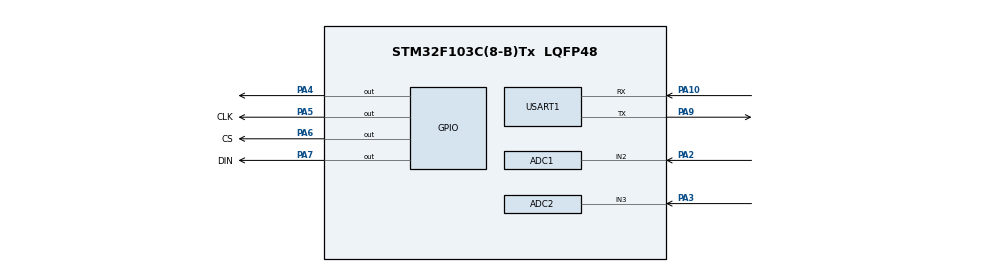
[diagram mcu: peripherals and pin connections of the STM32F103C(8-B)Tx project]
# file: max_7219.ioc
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ADC1.Channel-0\#ChannelRegularConversion=ADC_CHANNEL_2
ADC1.ContinuousConvMode=ENABLE
ADC1.NbrOfConversion=1
ADC1.NbrOfConversionFlag=1
ADC1.Rank-0\#ChannelRegularConversion=1
ADC1.SamplingTime-0\#ChannelRegularConversion=ADC_SAMPLETIME_1CYCLE_5
ADC1.master=1
ADC2.Channel-1\#ChannelRegularConversion=ADC_CHANNEL_3
ADC2.ContinuousConvMode=ENABLE
ADC2.NbrOfConversionFlag=1
ADC2.Rank-1\#ChannelRegularConversion=1
ADC2.SamplingTime-1\#ChannelRegularConversion=ADC_SAMPLETIME_1CYCLE_5
Mcu.Family=STM32F1
Mcu.Name=STM32F103C(8-B)Tx
Mcu.Package=LQFP48
NVIC.PriorityGroup=NVIC_PRIORITYGROUP_4
NVIC.TIM1_UP_IRQn=true\:1\:0\:true\:false\:true\:true\:true
NVIC.USART1_IRQn=true\:2\:0\:true\:false\:true\:true\:true
PA10.Mode=Asynchronous
PA10.Signal=USART1_RX
PA13.Mode=Serial_Wire
PA13.Signal=SYS_JTMS-SWDIO
PA14.Mode=Serial_Wire
PA14.Signal=SYS_JTCK-SWCLK
PA2.Signal=ADCx_IN2
PA3.Signal=ADCx_IN3
PA4.Signal=GPIO_Output
PA5.GPIO_Label=CLK
PA5.GPIO_Speed=GPIO_SPEED_FREQ_MEDIUM
PA5.Signal=GPIO_Output
PA6.GPIO_Label=CS
PA6.GPIO_Speed=GPIO_SPEED_FREQ_MEDIUM
PA6.Signal=GPIO_Output
PA7.GPIO_Label=DIN
PA7.GPIO_Speed=GPIO_SPEED_FREQ_MEDIUM
PA7.Signal=GPIO_Output
PA9.Mode=Asynchronous
PA9.Signal=USART1_TX
PD0-OSC_IN.Mode=HSE-External-Oscillator
PD0-OSC_IN.Signal=RCC_OSC_IN
PD1-OSC_OUT.Mode=HSE-External-Oscillator
PD1-OSC_OUT.Signal=RCC_OSC_OUT
ProjectManager.HeapSize=0x200
ProjectManager.StackSize=0x400
ProjectManager.TargetToolchain=STM32CubeIDE
RCC.APB1Freq_Value=8000000
RCC.APB2Freq_Value=8000000
RCC.RTCClockSelection=RCC_RTCCLKSOURCE_HSE_DIV128
SH.ADCx_IN2.0=ADC1_IN2,IN2
SH.ADCx_IN3.0=ADC2_IN3,IN3
TIM1.Period=10000
TIM1.Prescaler=79
USART1.VirtualMode=VM_ASYNC
VP_RTC_VS_RTC_Activate.Mode=RTC_Enabled
VP_RTC_VS_RTC_Calendar.Mode=RTC_Calendar
VP_TIM1_VS_ClockSourceINT.Mode=Internal
board=custom

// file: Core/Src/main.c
/* USER CODE BEGIN Header */
/**
  ******************************************************************************
  * @file           : main.c
  * @brief          : Main program body
  ******************************************************************************
  * @attention
  *
  * <h2><center>&copy; Copyright (c) 2019 STMicroelectronics.
  * All rights reserved.</center></h2>
  *
  * This software component is licensed by ST under BSD 3-Clause license,
  * the "License"; You may not use this file except in compliance with the
  * License. You may obtain a copy of the License at:
  *                        opensource.org/licenses/BSD-3-Clause
  *
  ******************************************************************************
  */
/* USER CODE END Header */

#include "main.h"

/* USER CODE BEGIN Includes */
#include "MAX7219.h"
/* USER CODE END Includes */

ADC_HandleTypeDef hadc1;
ADC_HandleTypeDef hadc2;

RTC_HandleTypeDef hrtc;

TIM_HandleTypeDef htim1;

UART_HandleTypeDef huart1;

/* USER CODE BEGIN PV */
extern  uchar const LEDcode[19];
#define LED_BEAT      GPIO_PIN_13   //PORTD
uint time, time1;
uint8_t mode;
uint8_t mode1;
uint32_t adc_value;
uint32_t adc_value1;
char Rx_data[1];
/* USER CODE END PV */

void SystemClock_Config(void);
static void MX_GPIO_Init(void);
static void MX_RTC_Init(void);
static void MX_TIM1_Init(void);
static void MX_ADC1_Init(void);
static void MX_USART1_UART_Init(void);
static void MX_ADC2_Init(void);

/* USER CODE BEGIN 0 */
static const double rounders[MAX_PRECISION + 1] =
{
	0.5,				// 0
	0.05,				// 1
	0.005,				// 2
	0.0005,				// 3
	0.00005,			// 4
	0.000005,			// 5
	0.0000005,			// 6
	0.00000005,			// 7
	0.000000005,		// 8
	0.0000000005,		// 9
	0.00000000005		// 10
};
char * ftoa(double f, char * buf, int precision)
{
	char * ptr = buf;
	char * p = ptr;
	char * p1;
	char c;
	long intPart;

	// check precision bounds
	if (precision > MAX_PRECISION)
		precision = MAX_PRECISION;

	// sign stuff
	if (f < 0)
	{
		f = -f;
		*ptr++ = '-';
	}

	if (precision < 0)  // negative precision == automatic precision guess
	{
		if (f < 1.0) precision = 6;
		else if (f < 10.0) precision = 5;
		else if (f < 100.0) precision = 4;
		else if (f < 1000.0) precision = 3;
		else if (f < 10000.0) precision = 2;
		else if (f < 100000.0) precision = 1;
		else precision = 0;
	}

	// round value according the precision
	if (precision)
		f += rounders[precision];

	// integer part...
	intPart = f;
	f -= intPart;

	if (!intPart)
		*ptr++ = '0';
	else
	{
		// save start pointer
		p = ptr;

		// convert (reverse order)
		while (intPart)
		{
			*p++ = '0' + intPart % 10;
			intPart /= 10;
		}

		// save end pos
		p1 = p;

		// reverse result
		while (p > ptr)
		{
			c = *--p;
			*p = *ptr;
			*ptr++ = c;
		}

		// restore end pos
		ptr = p1;
	}

	// decimal part
	if (precision)
	{
		// place decimal point
		*ptr++ = '.';

		// convert
		while (precision--)
		{
			f *= 10.0;
			c = f;
			*ptr++ = '0' + c;
			f -= c;
		}
	}

	// terminating zero
	*ptr = 0;

	return buf;
}

/* USER CODE END 0 */

int main(void)
{

  /* MCU Configuration--------------------------------------------------------*/

  /* Reset of all peripherals, Initializes the Flash interface and the Systick. */
  HAL_Init();

  /* Configure the system clock */
  SystemClock_Config();

  /* Initialize all configured peripherals */
  MX_GPIO_Init();
  MX_RTC_Init();
  MX_TIM1_Init();
  MX_ADC1_Init();
  MX_USART1_UART_Init();
  MX_ADC2_Init();
  /* USER CODE BEGIN 2 */
  MAX7219_Init ();
    MAX7219_Clear();
  // show 34b08822

  HAL_ADC_Start(&hadc1);
  HAL_ADC_Start(&hadc2);
      MAX7219_SendAddrDat(0x08,LEDcode[3]);

      MAX7219_SendAddrDat(0x07,LEDcode[4]);

      MAX7219_SendAddrDat(0x06,LEDcode[11]);

      MAX7219_SendAddrDat(0x05,LEDcode[0]);

      MAX7219_SendAddrDat(0x04,LEDcode[8]);

      MAX7219_SendAddrDat(0x03,LEDcode[8]);

      MAX7219_SendAddrDat(0x02,LEDcode[2]);

      MAX7219_SendAddrDat(0x01,LEDcode[2]);

  // show 12345678
HAL_UART_Receive_IT(&huart1, (uint8_t *) Rx_data,1);
  ///////////		HAL_Delay(3000);
//HAL_TIM_Base_Start_IT(&htim1);
  /* USER CODE END 2 */

  /* Infinite loop */
  while (1)
  {

    /* USER CODE BEGIN 3 */
	  MAX7219_DisplayTime1 (time);
	  MAX7219_DisplayTime2 (time1);
  }
  /* USER CODE END 3 */
}

void SystemClock_Config(void)
{
  RCC_OscInitTypeDef RCC_OscInitStruct = {0};
  RCC_ClkInitTypeDef RCC_ClkInitStruct = {0};
  RCC_PeriphCLKInitTypeDef PeriphClkInit = {0};

  /** Initializes the CPU, AHB and APB busses clocks
  */
  RCC_OscInitStruct.OscillatorType = RCC_OSCILLATORTYPE_HSI|RCC_OSCILLATORTYPE_HSE;
  RCC_OscInitStruct.HSEState = RCC_HSE_ON;
  RCC_OscInitStruct.HSIState = RCC_HSI_ON;
  RCC_OscInitStruct.HSICalibrationValue = RCC_HSICALIBRATION_DEFAULT;
  RCC_OscInitStruct.PLL.PLLState = RCC_PLL_NONE;
  if (HAL_RCC_OscConfig(&RCC_OscInitStruct) != HAL_OK)
  {
    Error_Handler();
  }
  /** Initializes the CPU, AHB and APB busses clocks
  */
  RCC_ClkInitStruct.ClockType = RCC_CLOCKTYPE_HCLK|RCC_CLOCKTYPE_SYSCLK
                              |RCC_CLOCKTYPE_PCLK1|RCC_CLOCKTYPE_PCLK2;
  RCC_ClkInitStruct.SYSCLKSource = RCC_SYSCLKSOURCE_HSI;
  RCC_ClkInitStruct.AHBCLKDivider = RCC_SYSCLK_DIV1;
  RCC_ClkInitStruct.APB1CLKDivider = RCC_HCLK_DIV1;
  RCC_ClkInitStruct.APB2CLKDivider = RCC_HCLK_DIV1;

  if (HAL_RCC_ClockConfig(&RCC_ClkInitStruct, FLASH_LATENCY_0) != HAL_OK)
  {
    Error_Handler();
  }
  PeriphClkInit.PeriphClockSelection = RCC_PERIPHCLK_RTC|RCC_PERIPHCLK_ADC;
  PeriphClkInit.RTCClockSelection = RCC_RTCCLKSOURCE_HSE_DIV128;
  PeriphClkInit.AdcClockSelection = RCC_ADCPCLK2_DIV2;
  if (HAL_RCCEx_PeriphCLKConfig(&PeriphClkInit) != HAL_OK)
  {
    Error_Handler();
  }
}

static void MX_ADC1_Init(void)
{

  ADC_ChannelConfTypeDef sConfig = {0};

  /** Common config
  */
  hadc1.Instance = ADC1;
  hadc1.Init.ScanConvMode = ADC_SCAN_DISABLE;
  hadc1.Init.ContinuousConvMode = ENABLE;
  hadc1.Init.DiscontinuousConvMode = DISABLE;
  hadc1.Init.ExternalTrigConv = ADC_SOFTWARE_START;
  hadc1.Init.DataAlign = ADC_DATAALIGN_RIGHT;
  hadc1.Init.NbrOfConversion = 1;
  if (HAL_ADC_Init(&hadc1) != HAL_OK)
  {
    Error_Handler();
  }
  /** Configure Regular Channel
  */
  sConfig.Channel = ADC_CHANNEL_2;
  sConfig.Rank = ADC_REGULAR_RANK_1;
  sConfig.SamplingTime = ADC_SAMPLETIME_1CYCLE_5;
  if (HAL_ADC_ConfigChannel(&hadc1, &sConfig) != HAL_OK)
  {
    Error_Handler();
  }

}

static void MX_ADC2_Init(void)
{

  ADC_ChannelConfTypeDef sConfig = {0};

  /** Common config
  */
  hadc2.Instance = ADC2;
  hadc2.Init.ScanConvMode = ADC_SCAN_DISABLE;
  hadc2.Init.ContinuousConvMode = ENABLE;
  hadc2.Init.DiscontinuousConvMode = DISABLE;
  hadc2.Init.ExternalTrigConv = ADC_SOFTWARE_START;
  hadc2.Init.DataAlign = ADC_DATAALIGN_RIGHT;
  hadc2.Init.NbrOfConversion = 1;
  if (HAL_ADC_Init(&hadc2) != HAL_OK)
  {
    Error_Handler();
  }
  /** Configure Regular Channel
  */
  sConfig.Channel = ADC_CHANNEL_3;
  sConfig.Rank = ADC_REGULAR_RANK_1;
  sConfig.SamplingTime = ADC_SAMPLETIME_1CYCLE_5;
  if (HAL_ADC_ConfigChannel(&hadc2, &sConfig) != HAL_OK)
  {
    Error_Handler();
  }

}

static void MX_RTC_Init(void)
{

  RTC_TimeTypeDef sTime = {0};
  RTC_DateTypeDef DateToUpdate = {0};

  /** Initialize RTC Only
  */
  hrtc.Instance = RTC;
  hrtc.Init.AsynchPrediv = RTC_AUTO_1_SECOND;
  hrtc.Init.OutPut = RTC_OUTPUTSOURCE_ALARM;
  if (HAL_RTC_Init(&hrtc) != HAL_OK)
  {
    Error_Handler();
  }

  /** Initialize RTC and set the Time and Date
  */
  sTime.Hours = 0x0;
  sTime.Minutes = 0x0;
  sTime.Seconds = 0x0;

  if (HAL_RTC_SetTime(&hrtc, &sTime, RTC_FORMAT_BCD) != HAL_OK)
  {
    Error_Handler();
  }
  DateToUpdate.WeekDay = RTC_WEEKDAY_MONDAY;
  DateToUpdate.Month = RTC_MONTH_JANUARY;
  DateToUpdate.Date = 0x1;
  DateToUpdate.Year = 0x0;

  if (HAL_RTC_SetDate(&hrtc, &DateToUpdate, RTC_FORMAT_BCD) != HAL_OK)
  {
    Error_Handler();
  }

}

static void MX_TIM1_Init(void)
{

  TIM_ClockConfigTypeDef sClockSourceConfig = {0};
  TIM_MasterConfigTypeDef sMasterConfig = {0};

  htim1.Instance = TIM1;
  htim1.Init.Prescaler = 79;
  htim1.Init.CounterMode = TIM_COUNTERMODE_UP;
  htim1.Init.Period = 10000;
  htim1.Init.ClockDivision = TIM_CLOCKDIVISION_DIV1;
  htim1.Init.RepetitionCounter = 0;
  htim1.Init.AutoReloadPreload = TIM_AUTORELOAD_PRELOAD_DISABLE;
  if (HAL_TIM_Base_Init(&htim1) != HAL_OK)
  {
    Error_Handler();
  }
  sClockSourceConfig.ClockSource = TIM_CLOCKSOURCE_INTERNAL;
  if (HAL_TIM_ConfigClockSource(&htim1, &sClockSourceConfig) != HAL_OK)
  {
    Error_Handler();
  }
  sMasterConfig.MasterOutputTrigger = TIM_TRGO_RESET;
  sMasterConfig.MasterSlaveMode = TIM_MASTERSLAVEMODE_DISABLE;
  if (HAL_TIMEx_MasterConfigSynchronization(&htim1, &sMasterConfig) != HAL_OK)
  {
    Error_Handler();
  }

}

static void MX_USART1_UART_Init(void)
{

  huart1.Instance = USART1;
  huart1.Init.BaudRate = 115200;
  huart1.Init.WordLength = UART_WORDLENGTH_8B;
  huart1.Init.StopBits = UART_STOPBITS_1;
  huart1.Init.Parity = UART_PARITY_NONE;
  huart1.Init.Mode = UART_MODE_TX_RX;
  huart1.Init.HwFlowCtl = UART_HWCONTROL_NONE;
  huart1.Init.OverSampling = UART_OVERSAMPLING_16;
  if (HAL_UART_Init(&huart1) != HAL_OK)
  {
    Error_Handler();
  }

}

static void MX_GPIO_Init(void)
{
  GPIO_InitTypeDef GPIO_InitStruct = {0};

  /* GPIO Ports Clock Enable */
  __HAL_RCC_GPIOD_CLK_ENABLE();
  __HAL_RCC_GPIOA_CLK_ENABLE();

  /*Configure GPIO pin Output Level */
  HAL_GPIO_WritePin(GPIOA, GPIO_PIN_4|CLK_Pin|CS_Pin|DIN_Pin, GPIO_PIN_RESET);

  /*Configure GPIO pin : PA4 */
  GPIO_InitStruct.Pin = GPIO_PIN_4;
  GPIO_InitStruct.Mode = GPIO_MODE_OUTPUT_PP;
  GPIO_InitStruct.Pull = GPIO_NOPULL;
  GPIO_InitStruct.Speed = GPIO_SPEED_FREQ_LOW;
  HAL_GPIO_Init(GPIOA, &GPIO_InitStruct);

  /*Configure GPIO pins : CLK_Pin CS_Pin DIN_Pin */
  GPIO_InitStruct.Pin = CLK_Pin|CS_Pin|DIN_Pin;
  GPIO_InitStruct.Mode = GPIO_MODE_OUTPUT_PP;
  GPIO_InitStruct.Pull = GPIO_NOPULL;
  GPIO_InitStruct.Speed = GPIO_SPEED_FREQ_MEDIUM;
  HAL_GPIO_Init(GPIOA, &GPIO_InitStruct);

}

/* USER CODE BEGIN 4 */
HAL_UART_RxCpltCallback(UART_HandleTypeDef *huart){
if(huart->Instance == huart1.Instance){
	if(Rx_data[0] == 'a'){
		mode = 1;
		HAL_TIM_Base_Start_IT(&htim1);
	}
	if(Rx_data[0] == 'b'){
		mode1 = 1;
		HAL_TIM_Base_Stop_IT(&htim1);
	}
	HAL_UART_Receive_IT(&huart1, (uint8_t *) Rx_data,1);
}
}
/* USER CODE END 4 */

void Error_Handler(void)
{
}

/************************ (C) COPYRIGHT STMicroelectronics *****END OF FILE****/
